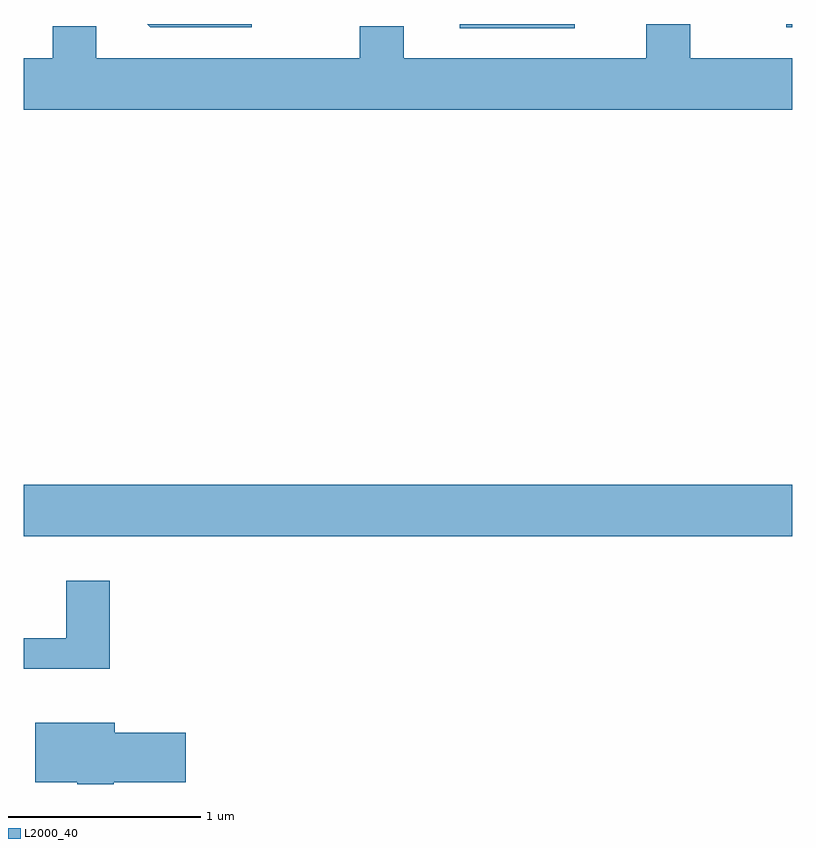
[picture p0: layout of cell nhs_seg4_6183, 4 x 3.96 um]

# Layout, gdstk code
import gdstk
lib = gdstk.Library(unit=1e-6, precision=1e-09)
def R(c, l, rs):  # rectangles x0, y0, x1, y1
    for r in rs: c.add(gdstk.rectangle(r[:2], r[2:], *l))
def P(c, l, *ps):  # polygons
    for p in ps: c.add(gdstk.Polygon(p, *l))
L2000_40 = (2000, 40)

nhs_seg4_6183 = lib.new_cell('nhs_seg4_6183')
R(nhs_seg4_6183, L2000_40, [(365.611,1381.316,369.611,1381.584), (367.881,1383.961,368.478,1383.982), (369.581,1383.966,369.611,1383.982)])
P(nhs_seg4_6183, L2000_40, [(369.611,1383.804),(369.079,1383.804),(369.079,1383.982),(368.851,1383.982),(368.851,1383.804),(367.589,1383.804),(367.589,1383.969),(367.361,1383.969),(367.361,1383.804),(365.989,1383.804),(365.989,1383.969),(365.761,1383.969),(365.761,1383.804),(365.611,1383.804),(365.611,1383.536),(369.611,1383.536)],
  [(366.798,1383.982),(366.253,1383.982),(366.269,1383.966),(366.798,1383.966)],
  [(366.059,1381.084),(365.831,1381.084),(365.831,1380.784),(365.611,1380.784),(365.611,1380.626),(366.059,1380.626)],
  [(366.08,1380.036),(366.454,1380.036),(366.454,1380.294),(366.084,1380.294),(366.084,1380.344),(365.671,1380.344),(365.671,1380.036),(365.89,1380.036),(365.89,1380.026),(366.08,1380.026)])

lib.write_gds('nhs_seg4_6183.gds')
